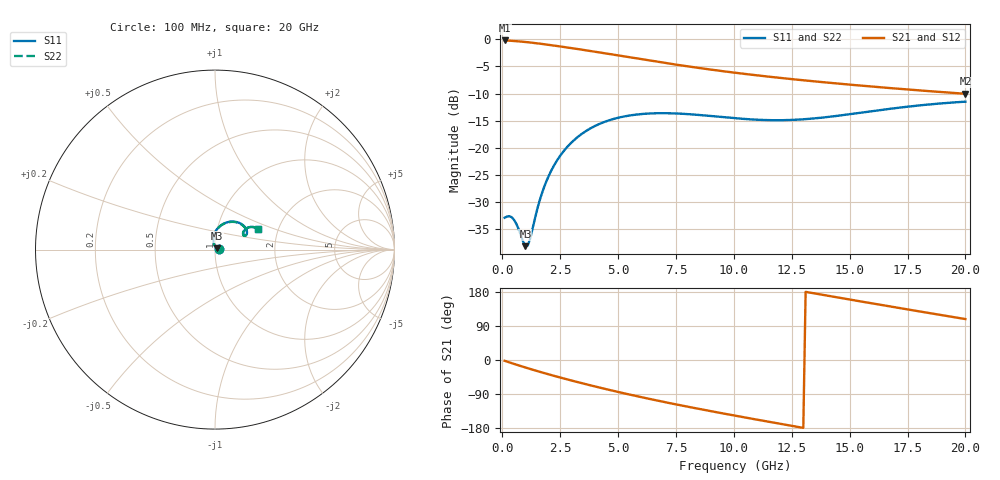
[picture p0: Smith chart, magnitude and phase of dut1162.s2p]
! Touchstone file exported from HFSS 2024.1.0
!  File:  C:/UserFiles/LocalFiles/RDL_TSV_Batchsim/temp_RDL_TSV_1162_1780121243.aedt
!  Generated:  02:20:33 PM May 30, 2026
!  Design:  RDL_TSV
!  Project:  temp_RDL_TSV_1162_1780121243
!  Setup:  Setup1
!  Solution:  Sweep
! Variables:
!  dtsv = 13.69um
!  hbump = 3um
!  htsv = 50.86um
!  ldown = 489.34um
!  lrdl = 640.25um
!  p = 40
!  p1 = 41.66um
!  rhole = 10um
!  subl = 4029.02um
!  t = 450um
!  tdown = 2.91um
!  trdl = 3um
!  viad = 10um
!  wdown = 15.42um
!  wrdl = 27.76um
!  xbump = 18um
# GHz S MA R 50.000000
! Terminal data exported
! Port[1] = TM1_1_T1
! Port[2] = TM1_4_T1
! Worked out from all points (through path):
!   200 points, 100 MHz to 20 GHz, reference 50 ohm
!   highest |S21| = -0.20 dB at 100 MHz (marker M1); lowest = -10.0 dB at 20 GHz (marker M2)
!   group delay of S21, straight-line fit = 33.4 ps
!   lowest |S11| = -38.2 dB at 1 GHz (marker M3), VSWR 1.03, Z = 50.9 + j0.819 ohm
!   |S11| at or under -10 dB: start of sweep to end of sweep
!   |S22| runs from -38.1 to -11.6 dB; largest |S21 - S12| = 1.3e-14
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0.1  0.02263 3.4  0.9769 -2.1  0.9769 -2.1  0.02264 3.4
! Gamma 0 0 0 0
! Port Impedance 50 0 50 0
0.3  0.02339 5.7  0.9723 -6.2  0.9723 -6.2  0.0234 5.7
0.5  0.02172 5.9  0.9661 -10.2  0.9661 -10.2  0.02175 5.8
1  0.01237 40.5  0.9457 -19.8  0.9457 -19.8  0.01241 39.9
1.1  0.01254 58.9  0.9408 -21.7  0.9408 -21.7  0.01254 58.1
1.2  0.01442 75.4  0.9358 -23.6  0.9358 -23.6  0.01436 74.7
1.6  0.03188 100.4  0.9139 -30.8  0.9139 -30.8  0.03163 100.0
1.8  0.04302 101.4  0.9023 -34.3  0.9023 -34.3  0.04268 101.1
2.1  0.06064 99.0  0.8845 -39.5  0.8845 -39.5  0.06018 98.8
2.7  0.09586 90.0  0.8481 -49.5  0.8481 -49.5  0.09516 89.8
3.5  0.1375 76.8  0.7995 -62.2  0.7995 -62.2  0.1364 76.7
4.2  0.1661 66.2  0.7575 -72.8  0.7575 -72.8  0.1648 66.0
4.9  0.1868 56.7  0.7167 -82.9  0.7167 -82.9  0.1852 56.5
5.8  0.2026 46.3  0.667 -95.3  0.667 -95.3  0.2008 46.2
6.8  0.2084 37.2  0.6167 -108.4  0.6167 -108.4  0.2065 37.1
8.4  0.2015 27.8  0.5482 -127.9  0.5482 -127.9  0.1994 27.7
10.1  0.187 24.6  0.4908 -147.4  0.4908 -147.4  0.1848 24.6
11.7  0.1796 26.9  0.448 -165.1  0.448 -165.1  0.1775 27.0
13.4  0.186 31.3  0.4113 176.6  0.4113 176.6  0.1841 31.5
16.7  0.2281 33.1  0.356 141.8  0.356 141.8  0.2264 33.3
18.3  0.2493 30.3  0.3345 125.3  0.3345 125.3  0.2475 30.5
20  0.2662 26.1  0.3149 108.0  0.3149 108.0  0.2641 26.2
